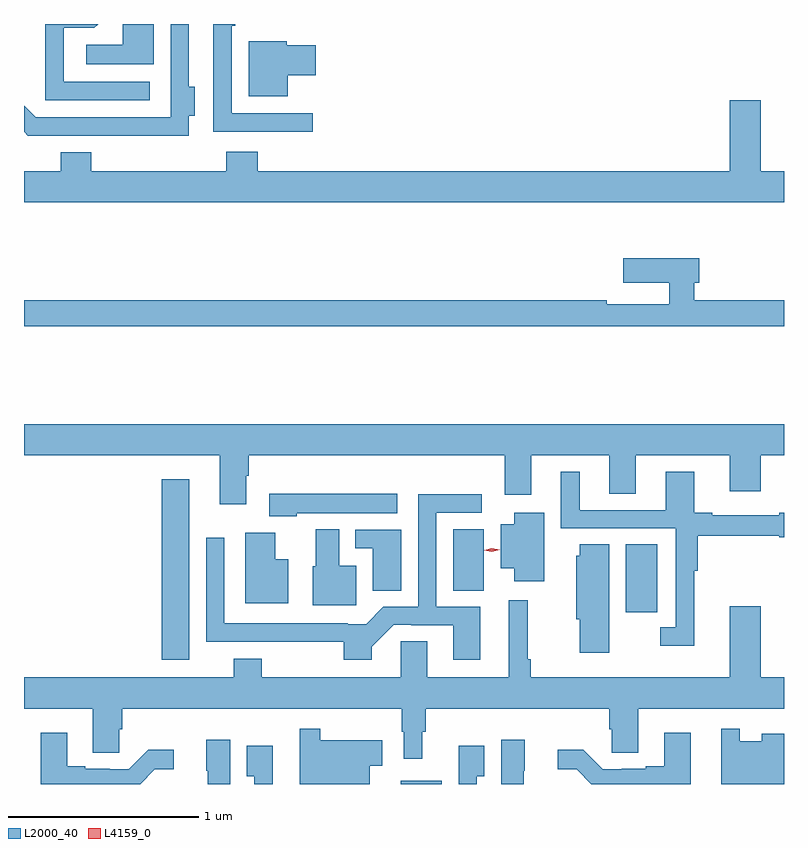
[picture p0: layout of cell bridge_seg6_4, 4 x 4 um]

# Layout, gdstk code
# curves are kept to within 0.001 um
import gdstk
lib = gdstk.Library(unit=1e-6, precision=1e-09)
def R(c, l, rs):  # rectangles x0, y0, x1, y1
    for r in rs: c.add(gdstk.rectangle(r[:2], r[2:], *l))
def P(c, l, *ps):  # polygons
    for p in ps: c.add(gdstk.Polygon(p, *l))
L2000_40 = (2000, 40)
L4159_0 = (4159, 0)

bridge_seg6_4 = lib.new_cell('bridge_seg6_4')
R(bridge_seg6_4, L2000_40, [(1002.437,948.271,1002.652,948.289), (1001.18,948.924,1001.323,949.876), (1003.622,949.176,1003.786,949.532), (1002.713,949.288,1002.874,949.613)])
P(bridge_seg6_4, L2000_40, [(1001.974,951.801),(1001.547,951.801),(1001.547,952.262),(1001.567,952.262),(1001.567,952.271),(1001.451,952.271),(1001.451,951.705),(1001.974,951.705)],
  [(1001.116,951.966),(1000.662,951.966),(1000.662,952.251),(1000.824,952.251),(1000.844,952.271),(1000.566,952.271),(1000.566,951.87),(1001.116,951.87)],
  [(1001.137,952.271),(1000.974,952.271),(1000.974,952.162),(1000.782,952.162),(1000.782,952.058),(1001.137,952.058)],
  [(1000.576,951.684),(1001.322,951.683),(1001.322,951.788),(1001.353,951.788),(1001.353,951.941),(1001.322,951.941),(1001.322,952.271),(1001.226,952.271),(1001.226,951.78),(1000.515,951.78),(1000.454,951.841),(1000.454,951.704),(1000.475,951.683)],
  [(1001.842,952.001),(1001.989,952.001),(1001.989,952.159),(1001.838,952.159),(1001.838,952.18),(1001.636,952.18),(1001.636,951.89),(1001.842,951.89)],
  [(1004.454,951.496),(1004.332,951.496),(1004.332,951.871),(1004.168,951.871),(1004.168,951.496),(1001.684,951.496),(1001.684,951.598),(1001.519,951.598),(1001.519,951.496),(1000.808,951.496),(1000.808,951.595),(1000.648,951.595),(1000.648,951.496),(1000.454,951.496),(1000.454,951.332),(1004.454,951.332)],
  [(1004.454,950.816),(1003.981,950.816),(1003.981,950.909),(1004.009,950.909),(1004.009,951.039),(1003.608,951.039),(1003.608,950.909),(1003.849,950.909),(1003.849,950.796),(1003.52,950.796),(1003.52,950.816),(1000.454,950.816),(1000.454,950.68),(1004.454,950.68)],
  [(1001.623,949.894),(1001.636,949.894),(1001.636,950),(1002.983,950),(1002.983,949.794),(1003.123,949.794),(1003.123,950),(1003.535,950),(1003.535,949.798),(1003.675,949.798),(1003.675,950),(1004.168,950),(1004.168,949.812),(1004.332,949.812),(1004.332,950),(1004.454,950),(1004.454,950.164),(1000.454,950.164),(1000.454,950),(1001.483,950),(1001.483,949.743),(1001.623,949.743)],
  [(1003.982,949.393),(1004,949.393),(1004,949.578),(1004.43,949.578),(1004.43,949.57),(1004.454,949.57),(1004.454,949.699),(1004.428,949.699),(1004.428,949.686),(1004.077,949.686),(1004.077,949.699),(1003.981,949.699),(1003.981,949.915),(1003.832,949.915),(1003.832,949.713),(1003.378,949.713),(1003.378,949.915),(1003.28,949.915),(1003.28,949.617),(1003.884,949.617),(1003.884,949.095),(1003.803,949.095),(1003.803,948.998),(1003.982,948.998)],
  [(1001.889,949.697),(1002.418,949.697),(1002.418,949.798),(1001.745,949.798),(1001.745,949.679),(1001.889,949.679)],
  [(1002.856,949.203),(1002.624,949.203),(1002.624,949.698),(1002.862,949.698),(1002.862,949.796),(1002.528,949.796),(1002.528,949.203),(1002.344,949.203),(1002.254,949.113),(1002.158,949.113),(1002.158,949.116),(1001.508,949.116),(1001.508,949.567),(1001.412,949.567),(1001.412,949.02),(1002.136,949.019),(1002.136,948.926),(1002.283,948.926),(1002.283,948.994),(1002.399,949.11),(1002.493,949.11),(1002.493,949.107),(1002.713,949.107),(1002.713,948.924),(1002.856,948.924)],
  [(1003.192,949.699),(1003.034,949.699),(1003.034,949.639),(1002.962,949.639),(1002.962,949.406),(1003.034,949.406),(1003.034,949.338),(1003.192,949.338)],
  [(1002.202,949.42),(1002.112,949.42),(1002.112,949.612),(1001.99,949.612),(1001.99,949.416),(1001.975,949.416),(1001.975,949.211),(1002.202,949.211)],
  [(1002.439,949.608),(1002.197,949.608),(1002.197,949.512),(1002.29,949.512),(1002.29,949.288),(1002.439,949.288)],
  [(1001.845,949.453),(1001.776,949.453),(1001.776,949.594),(1001.618,949.594),(1001.618,949.223),(1001.845,949.223)],
  [(1003.534,949.532),(1003.379,949.532),(1003.379,949.473),(1003.361,949.473),(1003.361,949.137),(1003.379,949.137),(1003.379,948.963),(1003.534,948.963)],
  [(1002.551,948.545),(1002.569,948.545),(1002.569,948.668),(1003.535,948.668),(1003.535,948.558),(1003.548,948.558),(1003.548,948.436),(1003.687,948.436),(1003.687,948.668),(1004.454,948.668),(1004.454,948.832),(1004.332,948.832),(1004.332,949.207),(1004.168,949.207),(1004.168,948.832),(1003.121,948.832),(1003.121,948.928),(1003.106,948.928),(1003.106,949.237),(1003.004,949.237),(1003.004,948.832),(1002.577,948.832),(1002.577,949.022),(1002.438,949.022),(1002.438,948.832),(1001.706,948.832),(1001.706,948.931),(1001.558,948.931),(1001.558,948.832),(1000.454,948.832),(1000.454,948.668),(1000.817,948.668),(1000.817,948.436),(1000.956,948.436),(1000.956,948.558),(1000.97,948.558),(1000.97,948.668),(1002.441,948.668),(1002.441,948.545),(1002.453,948.545),(1002.453,948.405),(1002.551,948.405)],
  [(1004.454,948.535),(1004.336,948.535),(1004.336,948.496),(1004.22,948.496),(1004.22,948.562),(1004.124,948.562),(1004.124,948.271),(1004.454,948.271)],
  [(1002.274,948.368),(1002.34,948.368),(1002.34,948.502),(1002.013,948.502),(1002.013,948.562),(1001.904,948.562),(1001.904,948.271),(1002.274,948.271)],
  [(1001.142,948.348),(1001.242,948.348),(1001.242,948.451),(1001.107,948.451),(1001.004,948.348),(1000.904,948.348),(1000.904,948.351),(1000.777,948.351),(1000.777,948.364),(1000.681,948.364),(1000.681,948.541),(1000.541,948.541),(1000.541,948.271),(1001.065,948.271)],
  [(1003.963,948.541),(1003.823,948.541),(1003.823,948.364),(1003.727,948.364),(1003.727,948.351),(1003.6,948.351),(1003.6,948.348),(1003.5,948.348),(1003.398,948.451),(1003.263,948.451),(1003.263,948.348),(1003.362,948.348),(1003.439,948.271),(1003.963,948.271)],
  [(1001.539,948.505),(1001.414,948.505),(1001.414,948.342),(1001.42,948.342),(1001.42,948.271),(1001.539,948.271)],
  [(1003.084,948.342),(1003.09,948.342),(1003.09,948.505),(1002.965,948.505),(1002.965,948.271),(1003.084,948.271)],
  [(1001.764,948.472),(1001.627,948.472),(1001.627,948.311),(1001.667,948.311),(1001.667,948.271),(1001.764,948.271)],
  [(1002.837,948.311),(1002.877,948.311),(1002.877,948.472),(1002.741,948.472),(1002.741,948.271),(1002.837,948.271)])
P(bridge_seg6_4, L4159_0, [(1002.917,949.493),(1002.877,949.502),(1002.877,949.502),(1002.877,949.502),(1002.917,949.513),(1002.957,949.505),(1002.957,949.504),(1002.957,949.504)])

lib.write_gds('bridge_seg6_4.gds')
